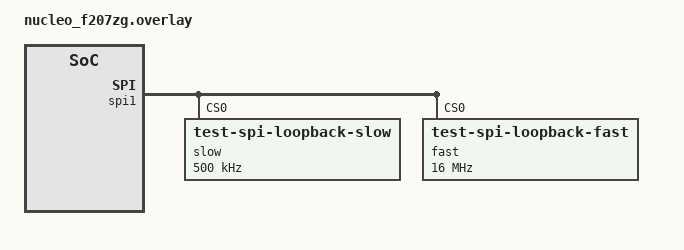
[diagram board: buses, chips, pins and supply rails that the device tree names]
/*
 * Copyright (c) 2021 STMicroelectronics
 *
 * SPDX-License-Identifier: Apache-2.0
 */

&spi1 {
	dmas = <&dma2 5 3 0x28440 0x03
		&dma2 2 3 0x28480 0x03>;
	dma-names = "tx", "rx";
};

&spi1 {
	status = "okay";
	slow@0 {
		compatible = "test-spi-loopback-slow";
		reg = <0>;
		spi-max-frequency = <500000>;
	};
	fast@0 {
		compatible = "test-spi-loopback-fast";
		reg = <0>;
		spi-max-frequency = <16000000>;
	};
};

&dma2 {
	status = "okay";
};
